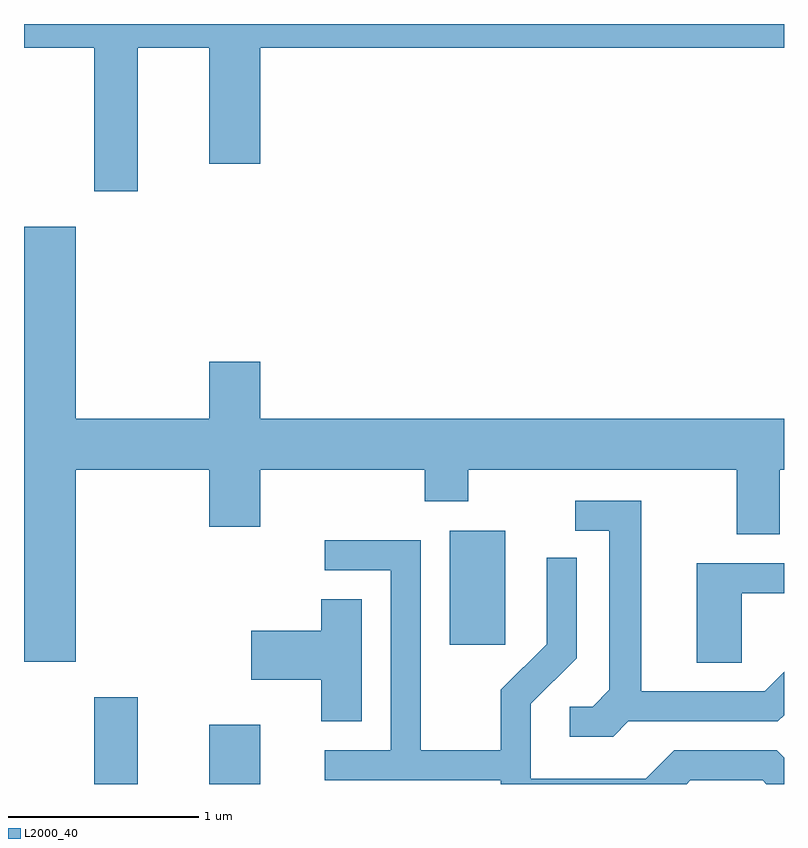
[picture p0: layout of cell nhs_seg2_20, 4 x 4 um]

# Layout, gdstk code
import gdstk
lib = gdstk.Library(unit=1e-6, precision=1e-09)
def R(c, l, rs):  # rectangles x0, y0, x1, y1
    for r in rs: c.add(gdstk.rectangle(r[:2], r[2:], *l))
def P(c, l, *ps):  # polygons
    for p in ps: c.add(gdstk.Polygon(p, *l))
L2000_40 = (2000, 40)

nhs_seg2_20 = lib.new_cell('nhs_seg2_20')
R(nhs_seg2_20, L2000_40, [(185.981,1017.802,186.209,1018.259), (186.586,1017.802,186.854,1018.114), (187.851,1018.536,188.144,1019.134)])
P(nhs_seg2_20, L2000_40, [(186.209,1021.676),(186.586,1021.676),(186.586,1021.066),(186.854,1021.066),(186.854,1021.676),(189.611,1021.676),(189.611,1021.802),(185.611,1021.802),(185.611,1021.676),(185.981,1021.676),(185.981,1020.921),(186.209,1020.921)],
  [(185.884,1019.456),(186.586,1019.456),(186.586,1019.156),(186.854,1019.156),(186.854,1019.456),(187.721,1019.456),(187.721,1019.291),(187.949,1019.291),(187.949,1019.456),(189.361,1019.456),(189.361,1019.116),(189.589,1019.116),(189.589,1019.456),(189.611,1019.456),(189.611,1019.724),(186.854,1019.724),(186.854,1020.024),(186.586,1020.024),(186.586,1019.724),(185.884,1019.724),(185.884,1020.734),(185.611,1020.734),(185.611,1018.446),(185.884,1018.446)],
  [(188.792,1018.131),(189.577,1018.131),(189.611,1018.165),(189.611,1018.392),(189.509,1018.289),(188.859,1018.289),(188.859,1019.294),(188.513,1019.294),(188.513,1019.136),(188.691,1019.136),(188.691,1018.297),(188.604,1018.209),(188.483,1018.209),(188.483,1018.051),(188.712,1018.051)],
  [(189.117,1017.821),(189.499,1017.821),(189.518,1017.802),(189.611,1017.802),(189.611,1017.94),(189.572,1017.979),(189.034,1017.979),(188.884,1017.829),(188.279,1017.829),(188.279,1018.224),(188.519,1018.464),(188.519,1018.993),(188.361,1018.993),(188.361,1018.537),(188.121,1018.297),(188.121,1017.979),(187.699,1017.979),(187.699,1019.084),(187.193,1019.084),(187.193,1018.926),(187.541,1018.926),(187.541,1017.979),(187.193,1017.979),(187.193,1017.821),(188.121,1017.821),(188.121,1017.802),(189.098,1017.802)],
  [(189.389,1018.806),(189.611,1018.806),(189.611,1018.964),(189.151,1018.964),(189.151,1018.441),(189.389,1018.441)],
  [(187.389,1018.774),(187.176,1018.774),(187.176,1018.609),(186.806,1018.609),(186.806,1018.351),(187.176,1018.351),(187.176,1018.131),(187.389,1018.131)])

lib.write_gds('nhs_seg2_20.gds')
